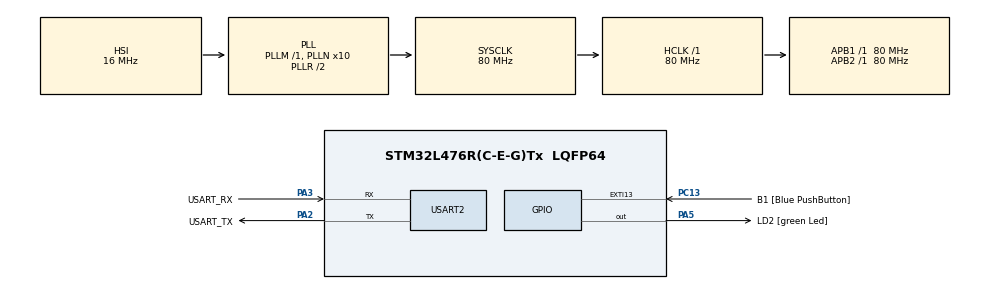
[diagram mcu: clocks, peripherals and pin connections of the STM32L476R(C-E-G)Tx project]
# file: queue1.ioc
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FREERTOS.Tasks01=defaultTask,0,128,StartDefaultTask,Default,NULL,Dynamic,NULL,NULL
Mcu.Family=STM32L4
Mcu.Name=STM32L476R(C-E-G)Tx
Mcu.Package=LQFP64
NVIC.PriorityGroup=NVIC_PRIORITYGROUP_4
PA13\ (JTMS-SWDIO).GPIO_Label=TMS
PA13\ (JTMS-SWDIO).Mode=Serial_Wire
PA13\ (JTMS-SWDIO).Signal=SYS_JTMS-SWDIO
PA14\ (JTCK-SWCLK).GPIO_Label=TCK
PA14\ (JTCK-SWCLK).Mode=Serial_Wire
PA14\ (JTCK-SWCLK).Signal=SYS_JTCK-SWCLK
PA2.GPIO_Label=USART_TX
PA2.GPIO_Mode=GPIO_MODE_AF_PP
PA2.GPIO_PuPd=GPIO_NOPULL
PA2.GPIO_Speed=GPIO_SPEED_FREQ_VERY_HIGH
PA2.Mode=Asynchronous
PA2.Signal=USART2_TX
PA3.GPIO_Label=USART_RX
PA3.GPIO_Mode=GPIO_MODE_AF_PP
PA3.GPIO_PuPd=GPIO_NOPULL
PA3.GPIO_Speed=GPIO_SPEED_FREQ_VERY_HIGH
PA3.Mode=Asynchronous
PA3.Signal=USART2_RX
PA5.GPIO_Label=LD2 [green Led]
PA5.GPIO_ModeDefaultOutputPP=GPIO_MODE_OUTPUT_PP
PA5.GPIO_PuPd=GPIO_NOPULL
PA5.GPIO_Speed=GPIO_SPEED_FREQ_LOW
PA5.Signal=GPIO_Output
PB3\ (JTDO-TRACESWO).GPIO_Label=SWO
PB3\ (JTDO-TRACESWO).Signal=SYS_JTDO-SWO
PC13.GPIO_Label=B1 [Blue PushButton]
PC13.GPIO_ModeDefaultEXTI=GPIO_MODE_IT_FALLING
PC13.GPIO_PuPd=GPIO_NOPULL
PC13.Signal=GPXTI13
PC14-OSC32_IN\ (PC14).Mode=LSE-External-Oscillator
PC14-OSC32_IN\ (PC14).Signal=RCC_OSC32_IN
PC15-OSC32_OUT\ (PC15).Mode=LSE-External-Oscillator
PC15-OSC32_OUT\ (PC15).Signal=RCC_OSC32_OUT
PH0-OSC_IN\ (PH0).Signal=RCC_OSC_IN
PH1-OSC_OUT\ (PH1).Signal=RCC_OSC_OUT
ProjectManager.HeapSize=0x200
ProjectManager.StackSize=0x400
ProjectManager.TargetToolchain=STM32CubeIDE
RCC.ADCFreq_Value=64000000
RCC.AHBFreq_Value=80000000
RCC.APB1Freq_Value=80000000
RCC.APB1TimFreq_Value=80000000
RCC.APB2Freq_Value=80000000
RCC.APB2TimFreq_Value=80000000
RCC.CortexFreq_Value=80000000
RCC.HCLKFreq_Value=80000000
RCC.HSE_VALUE=8000000
RCC.HSI_VALUE=16000000
RCC.MSI_VALUE=4000000
RCC.PLLN=10
RCC.PLLSourceVirtual=RCC_PLLSOURCE_HSI
RCC.PREFETCH_ENABLE=1
RCC.SYSCLKFreq_VALUE=80000000
RCC.SYSCLKSource=RCC_SYSCLKSOURCE_PLLCLK
RCC.USBFreq_Value=64000000
RCC.VCOOutputFreq_Value=160000000
USART2.VirtualMode-Asynchronous=VM_ASYNC
VP_FREERTOS_VS_CMSIS_V1.Mode=CMSIS_V1
board=NUCLEO-L476RG

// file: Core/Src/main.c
/* USER CODE BEGIN Header */
/**
  ******************************************************************************
  * @file           : main.c
  * @brief          : Main program body
  ******************************************************************************
  * @attention
  *
  * Copyright (c) 2025 STMicroelectronics.
  * All rights reserved.
  *
  * This software is licensed under terms that can be found in the LICENSE file
  * in the root directory of this software component.
  * If no LICENSE file comes with this software, it is provided AS-IS.
  *
  ******************************************************************************
  */
/* USER CODE END Header */
#include "main.h"
#include "cmsis_os.h"

/* USER CODE BEGIN Includes */
#include<stdio.h>
#include<string.h>
/* USER CODE END Includes */

UART_HandleTypeDef huart2;

osThreadId defaultTaskHandle;
/* USER CODE BEGIN PV */
QueueHandle_t myQueueHandle;   // Queue handle
/* USER CODE END PV */

void SystemClock_Config(void);
static void MX_GPIO_Init(void);
static void MX_USART2_UART_Init(void);
void StartDefaultTask(void const * argument);

/* USER CODE BEGIN 0 */
// Function to send strings over UART2
void uart_send(char *s)
{
    // Transmit string over UART (blocking mode)
    HAL_UART_Transmit(&huart2, (uint8_t*)s, strlen(s), 1000);
}

// Task to send values into the queue
void SenderTask(void *argument)
{
    int counter = 0;      // Variable to count numbers
    char s[50];           // Buffer for UART messages

    while(1)   // Infinite loop (task runs continuously)
    {
        counter++;   // Increment counter each time

        // Send counter value into the queue
        if(xQueueSend(myQueueHandle, &counter, portMAX_DELAY) == pdPASS)
        {
            // If successfully sent, print message over UART
            sprintf(s, "Sent: %d\r\n", counter);
            uart_send(s);
        }

        // Delay task for 1 second (non-blocking for CPU)
        vTaskDelay(pdMS_TO_TICKS(1000));
    }
}

// Task to receive values from the queue
void ReceiverTask(void *argument)
{
    int receivedValue;    // Variable to store received value
    char s[50];           // Buffer for UART messages

    while(1)   // Infinite loop (task runs continuously)
    {
        // Wait until a value is received from the queue
        if(xQueueReceive(myQueueHandle, &receivedValue, portMAX_DELAY) == pdPASS)
        {
            // If received successfully, print it on UART
            sprintf(s, "Received: %d\r\n", receivedValue);
            uart_send(s);
        }

        // Delay task for 1 second (to slow down printing)
        vTaskDelay(pdMS_TO_TICKS(1000));
    }
}

/* USER CODE END 0 */

int main(void)
{

  /* MCU Configuration--------------------------------------------------------*/

  /* Reset of all peripherals, Initializes the Flash interface and the Systick. */
  HAL_Init();

  /* Configure the system clock */
  SystemClock_Config();

  /* Initialize all configured peripherals */
  MX_GPIO_Init();
  MX_USART2_UART_Init();

  /* Create the thread(s) */
  /* definition and creation of defaultTask */
  osThreadDef(defaultTask, StartDefaultTask, osPriorityNormal, 0, 128);
  defaultTaskHandle = osThreadCreate(osThread(defaultTask), NULL);

  /* USER CODE BEGIN RTOS_THREADS */
  /* Create a queue with length 5, each item is an int (4 bytes) */
  myQueueHandle = xQueueCreate(5, sizeof(int));
  /* Check if queue creation failed (NULL means not created) */
    if(myQueueHandle == NULL)
    {
       HAL_UART_Transmit(&huart2,(uint8_t*)"FAIL\r\n", 6, 1000);// Print fail message on UART
    }

    /* Create tasks */
    xTaskCreate(SenderTask, "Sender", 128, NULL, 2, NULL);  //create task 1
    xTaskCreate(ReceiverTask, "Receiver", 128, NULL, 2, NULL); //create task 2
  /* USER CODE END RTOS_THREADS */

  /* Start scheduler */
  osKernelStart();

  /* We should never get here as control is now taken by the scheduler */

  /* Infinite loop */
  while (1)
  {

  }
}

void SystemClock_Config(void)
{
  RCC_OscInitTypeDef RCC_OscInitStruct = {0};
  RCC_ClkInitTypeDef RCC_ClkInitStruct = {0};

  /** Configure the main internal regulator output voltage
  */
  if (HAL_PWREx_ControlVoltageScaling(PWR_REGULATOR_VOLTAGE_SCALE1) != HAL_OK)
  {
    Error_Handler();
  }

  /** Initializes the RCC Oscillators according to the specified parameters
  * in the RCC_OscInitTypeDef structure.
  */
  RCC_OscInitStruct.OscillatorType = RCC_OSCILLATORTYPE_HSI;
  RCC_OscInitStruct.HSIState = RCC_HSI_ON;
  RCC_OscInitStruct.HSICalibrationValue = RCC_HSICALIBRATION_DEFAULT;
  RCC_OscInitStruct.PLL.PLLState = RCC_PLL_ON;
  RCC_OscInitStruct.PLL.PLLSource = RCC_PLLSOURCE_HSI;
  RCC_OscInitStruct.PLL.PLLM = 1;
  RCC_OscInitStruct.PLL.PLLN = 10;
  RCC_OscInitStruct.PLL.PLLP = RCC_PLLP_DIV7;
  RCC_OscInitStruct.PLL.PLLQ = RCC_PLLQ_DIV2;
  RCC_OscInitStruct.PLL.PLLR = RCC_PLLR_DIV2;
  if (HAL_RCC_OscConfig(&RCC_OscInitStruct) != HAL_OK)
  {
    Error_Handler();
  }

  /** Initializes the CPU, AHB and APB buses clocks
  */
  RCC_ClkInitStruct.ClockType = RCC_CLOCKTYPE_HCLK|RCC_CLOCKTYPE_SYSCLK
                              |RCC_CLOCKTYPE_PCLK1|RCC_CLOCKTYPE_PCLK2;
  RCC_ClkInitStruct.SYSCLKSource = RCC_SYSCLKSOURCE_PLLCLK;
  RCC_ClkInitStruct.AHBCLKDivider = RCC_SYSCLK_DIV1;
  RCC_ClkInitStruct.APB1CLKDivider = RCC_HCLK_DIV1;
  RCC_ClkInitStruct.APB2CLKDivider = RCC_HCLK_DIV1;

  if (HAL_RCC_ClockConfig(&RCC_ClkInitStruct, FLASH_LATENCY_4) != HAL_OK)
  {
    Error_Handler();
  }
}

static void MX_USART2_UART_Init(void)
{

  huart2.Instance = USART2;
  huart2.Init.BaudRate = 115200;
  huart2.Init.WordLength = UART_WORDLENGTH_8B;
  huart2.Init.StopBits = UART_STOPBITS_1;
  huart2.Init.Parity = UART_PARITY_NONE;
  huart2.Init.Mode = UART_MODE_TX_RX;
  huart2.Init.HwFlowCtl = UART_HWCONTROL_NONE;
  huart2.Init.OverSampling = UART_OVERSAMPLING_16;
  huart2.Init.OneBitSampling = UART_ONE_BIT_SAMPLE_DISABLE;
  huart2.AdvancedInit.AdvFeatureInit = UART_ADVFEATURE_NO_INIT;
  if (HAL_UART_Init(&huart2) != HAL_OK)
  {
    Error_Handler();
  }

}

static void MX_GPIO_Init(void)
{
  GPIO_InitTypeDef GPIO_InitStruct = {0};

  /* GPIO Ports Clock Enable */
  __HAL_RCC_GPIOC_CLK_ENABLE();
  __HAL_RCC_GPIOH_CLK_ENABLE();
  __HAL_RCC_GPIOA_CLK_ENABLE();
  __HAL_RCC_GPIOB_CLK_ENABLE();

  /*Configure GPIO pin Output Level */
  HAL_GPIO_WritePin(LD2_GPIO_Port, LD2_Pin, GPIO_PIN_RESET);

  /*Configure GPIO pin : B1_Pin */
  GPIO_InitStruct.Pin = B1_Pin;
  GPIO_InitStruct.Mode = GPIO_MODE_IT_FALLING;
  GPIO_InitStruct.Pull = GPIO_NOPULL;
  HAL_GPIO_Init(B1_GPIO_Port, &GPIO_InitStruct);

  /*Configure GPIO pin : LD2_Pin */
  GPIO_InitStruct.Pin = LD2_Pin;
  GPIO_InitStruct.Mode = GPIO_MODE_OUTPUT_PP;
  GPIO_InitStruct.Pull = GPIO_NOPULL;
  GPIO_InitStruct.Speed = GPIO_SPEED_FREQ_LOW;
  HAL_GPIO_Init(LD2_GPIO_Port, &GPIO_InitStruct);

}

void StartDefaultTask(void const * argument)
{
  for(;;)
  {
    osDelay(1);
  }
}

void Error_Handler(void)
{
  __disable_irq();
  while (1)
  {
  }
}
